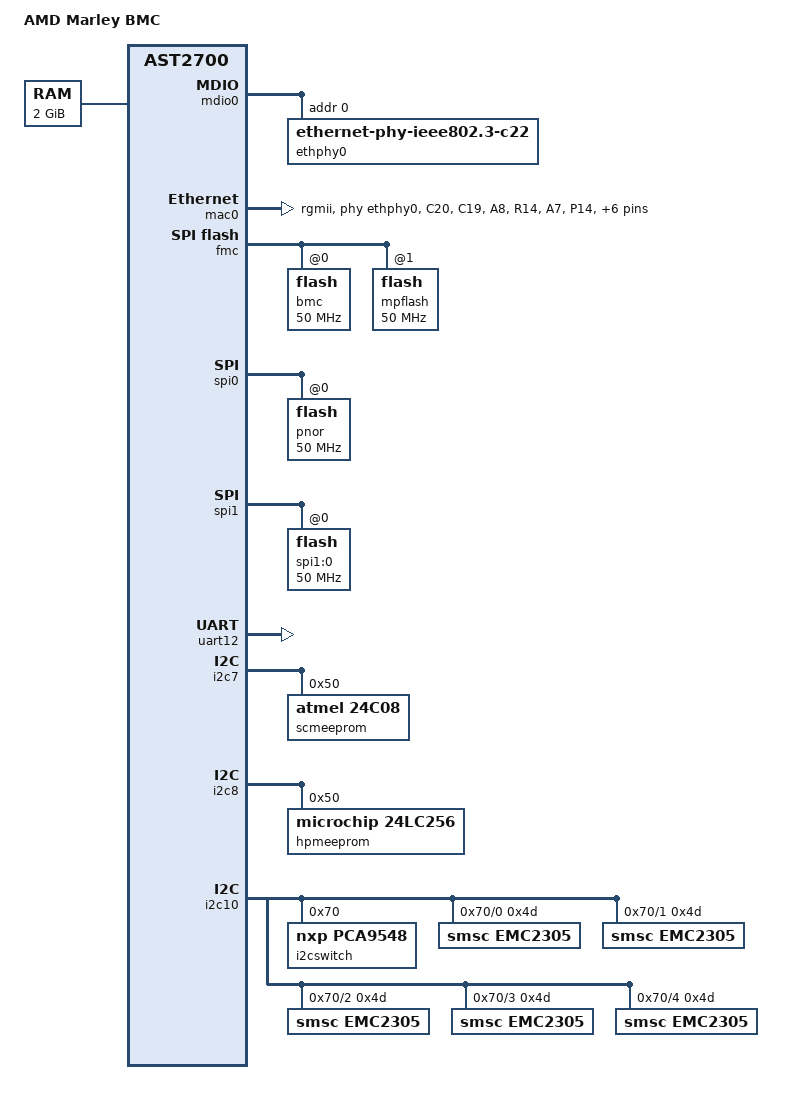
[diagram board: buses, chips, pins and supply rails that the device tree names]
// SPDX-License-Identifier: GPL-2.0
// Copyright (c) 2024 AMD Inc.
// Author: Ashok kumar <ashok2.kumar@amd.com>

/dts-v1/;

#include "aspeed-g7.dtsi"
#include "dt-bindings/gpio/aspeed-gpio.h"
#include <dt-bindings/i2c/i2c.h>

/ {
	model = "AMD Marley BMC";
	compatible = "amd,marley-bmc", "aspeed,ast2700";
	
	chosen {
		stdout-path = &uart12;
		bootargs = "console=ttyS12,115200n8";
	};

	firmware {
		optee: optee {
			compatible = "linaro,optee-tz";
			method = "smc";
		};
	};

	memory@400000000 {
		device_type = "memory";
		reg = <0x4 0x00000000 0x0 0x80000000>;
	};

	reserved-memory {
		#address-cells = <2>;
		#size-cells = <2>;
		ranges;

		mcu_fw: mcu-firmware@42fe00000 {
			reg = <0x4 0x2fe00000 0x0 0x200000>;
			no-map;
		};

		atf: trusted-firmware-a@430000000 {
			reg = <0x4 0x30000000 0x0 0x80000>;
			no-map;
		};

		optee_core: optee_core@430080000 {
			reg = <0x4 0x30080000 0x0 0x1000000>;
			no-map;
		};
	};
};

&mdio0 {
	status = "okay";
	#address-cells = <1>;
	#size-cells = <0>;

	ethphy0: ethernet-phy@0 {
		compatible = "ethernet-phy-ieee802.3-c22";
		reg = <0>;
	};
};

&pinctrl1 {
	pinctrl_rgmii0_driving: rgmii0_driving {
		pins = "C20", "C19", "A8", "R14", "A7", "P14",
		       "D20", "A6", "B6", "N14", "B7", "B8";
		drive-strength = <1>;
	};
};

&mac0 {
	status = "okay";
	phy-mode = "rgmii";
	phy-handle = <&ethphy0>;
	pinctrl-names = "default";
	pinctrl-0 = <&pinctrl_rgmii0_default &pinctrl_rgmii0_driving>;
};

&fmc {
	status = "okay";
	pinctrl-0 = <&pinctrl_fwspi_quad_default>;
	pinctrl-names = "default";

	flash@0 {
		status = "okay";
		m25p,fast-read;
		label = "bmc";
		spi-max-frequency = <50000000>;
		spi-tx-bus-width = <4>;
		spi-rx-bus-width = <4>;
#include "aspeed-flash-layout-128.dtsi"
	};

	flash@1 {
		status = "okay";
		m25p,fast-read;
		label = "mpflash";
		spi-max-frequency = <50000000>;
		spi-tx-bus-width = <4>;
		spi-rx-bus-width = <4>;
	};
};

&spi0 {
	status = "okay";
	pinctrl-0 = <&pinctrl_spi0_default &pinctrl_spi0_cs1_default>;
	pinctrl-names = "default";

	flash@0 {
		status = "okay";
		m25p,fast-read;
		label = "pnor";
		spi-max-frequency = <50000000>;
		spi-tx-bus-width = <2>;
		spi-rx-bus-width = <2>;
	};
};

&spi1 {
	status = "okay";
	pinctrl-0 = <&pinctrl_spi1_default &pinctrl_spi1_cs1_default>;
	pinctrl-names = "default";

	flash@0 {
		status = "okay";
		m25p,fast-read;
		label = "spi1:0";
		spi-max-frequency = <50000000>;
		spi-tx-bus-width = <2>;
		spi-rx-bus-width = <2>;
	};
};

//BMC Console
&uart12 {
	status = "okay";
};

// I2C configs

&i2c7 {
	status = "okay";
	scmeeprom@50 {
		compatible = "atmel,24c08";
		reg = <0x50>;
	};
};

&i2c8 {
	status = "okay";
	hpmeeprom@50 {
		compatible = "microchip,24lc256","atmel,24c256";
		reg = <0x50>;
	};
};

&i2c10 {
	// Net name i2c2 (SCM_I2C2) - FAN/LM75/ADC
	status = "okay";

	i2cswitch@70 {
		compatible = "nxp,pca9548";
		reg = <0x70>;
		#address-cells = <1>;
		#size-cells = <0>;

		//  port 0 to 4 connected to 5 fan controllers which controls 5 fans each
		i2c@0 {
			reg = <0>;
			#address-cells = <1>;
			#size-cells = <0>;

			emc2305@4d {
				compatible = "smsc,emc2305";
				reg = <0x4d>;
				#cooling-cells = <0x02>;

				fan@0 {
					min-rpm = /bits/ 16 <1000>;
					max-rpm = /bits/ 16 <16000>;
				};
				fan@1 {
					min-rpm = /bits/ 16 <1000>;
					max-rpm = /bits/ 16 <16000>;
				};

				fan@2 {
					min-rpm = /bits/ 16 <1000>;
					max-rpm = /bits/ 16 <16000>;
				};

				fan@3 {
					min-rpm = /bits/ 16 <1000>;
					max-rpm = /bits/ 16 <16000>;
				};

				fan@4 {
					min-rpm = /bits/ 16 <1000>;
					max-rpm = /bits/ 16 <16000>;
				};
			};
		};

		i2c@1 {
			reg = <1>;
			#address-cells = <1>;
			#size-cells = <0>;

			emc2305@4d {
				compatible = "smsc,emc2305";
				reg = <0x4d>;
				#cooling-cells = <0x02>;

				fan@0 {
					min-rpm = /bits/ 16 <1000>;
					max-rpm = /bits/ 16 <16000>;
				};
				fan@1 {
					min-rpm = /bits/ 16 <1000>;
					max-rpm = /bits/ 16 <16000>;
				};

				fan@2 {
					min-rpm = /bits/ 16 <1000>;
					max-rpm = /bits/ 16 <16000>;
				};

				fan@3 {
					min-rpm = /bits/ 16 <1000>;
					max-rpm = /bits/ 16 <16000>;
				};

				fan@4 {
					min-rpm = /bits/ 16 <1000>;
					max-rpm = /bits/ 16 <16000>;
				};
			};
		};

		i2c@2 {
			reg = <2>;
			#address-cells = <1>;
			#size-cells = <0>;

			emc2305@4d {
				compatible = "smsc,emc2305";
				reg = <0x4d>;
				#cooling-cells = <0x02>;

				fan@0 {
					min-rpm = /bits/ 16 <1000>;
					max-rpm = /bits/ 16 <16000>;
				};
				fan@1 {
					min-rpm = /bits/ 16 <1000>;
					max-rpm = /bits/ 16 <16000>;
				};

				fan@2 {
					min-rpm = /bits/ 16 <1000>;
					max-rpm = /bits/ 16 <16000>;
				};

				fan@3 {
					min-rpm = /bits/ 16 <1000>;
					max-rpm = /bits/ 16 <16000>;
				};

				fan@4 {
					min-rpm = /bits/ 16 <1000>;
					max-rpm = /bits/ 16 <16000>;
				};
			};
		};

		i2c@3 {
			reg = <3>;
			#address-cells = <1>;
			#size-cells = <0>;

			emc2305@4d {
				compatible = "smsc,emc2305";
				reg = <0x4d>;
				#cooling-cells = <0x02>;

				fan@0 {
					min-rpm = /bits/ 16 <1000>;
					max-rpm = /bits/ 16 <16000>;
				};
				fan@1 {
					min-rpm = /bits/ 16 <1000>;
					max-rpm = /bits/ 16 <16000>;
				};

				fan@2 {
					min-rpm = /bits/ 16 <1000>;
					max-rpm = /bits/ 16 <16000>;
				};

				fan@3 {
					min-rpm = /bits/ 16 <1000>;
					max-rpm = /bits/ 16 <16000>;
				};

				fan@4 {
					min-rpm = /bits/ 16 <1000>;
					max-rpm = /bits/ 16 <16000>;
				};
			};
		};

		i2c@4 {
			reg = <4>;
			#address-cells = <1>;
			#size-cells = <0>;

			emc2305@4d {
				compatible = "smsc,emc2305";
				reg = <0x4d>;
				#cooling-cells = <0x02>;

				fan@0 {
					min-rpm = /bits/ 16 <1000>;
					max-rpm = /bits/ 16 <16000>;
				};
				fan@1 {
					min-rpm = /bits/ 16 <1000>;
					max-rpm = /bits/ 16 <16000>;
				};

				fan@2 {
					min-rpm = /bits/ 16 <1000>;
					max-rpm = /bits/ 16 <16000>;
				};

				fan@3 {
					min-rpm = /bits/ 16 <1000>;
					max-rpm = /bits/ 16 <16000>;
				};

				fan@4 {
					min-rpm = /bits/ 16 <1000>;
					max-rpm = /bits/ 16 <16000>;
				};
			};
		};
	};
};

